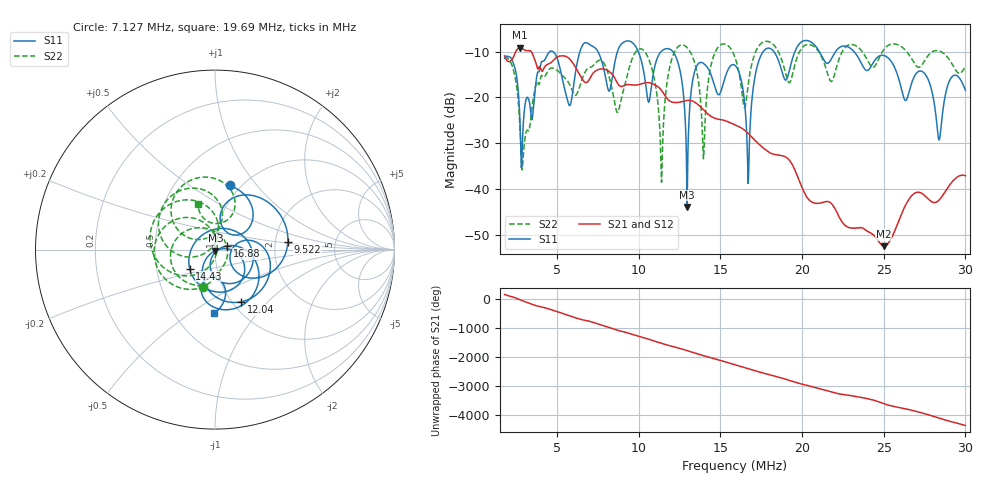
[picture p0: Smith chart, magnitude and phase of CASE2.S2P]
!Agilent Technologies,E5061B,MY49101568,A.02.00
!Date: Wed Mar 01 13:50:15 2023
!Data & Calibration Information:
!Freq	S11:SOLT2(OFF)	S21:SOLT2(OFF)	S12:SOLT2(OFF)	S22:SOLT2(OFF)
# Hz S dB R 50
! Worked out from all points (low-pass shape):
!   1155 points, 1.8 MHz to 30 MHz, reference 50 ohm
!   highest |S21| = -9.09 dB at 2.729 MHz (marker M1); lowest = -52.5 dB at 25.01 MHz (marker M2)
!   |S21| within 3 dB of the highest: 2.126 MHz to 3.683 MHz (1.558 MHz wide, 53.6 % of centre); 4.734 MHz to 5.899 MHz (1.166 MHz wide, 21.9 % of centre)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
!   lowest |S11| = -43.9 dB at 12.97 MHz (marker M3), VSWR 1.01, Z = 50.2 - j0.599 ohm
!   |S11| at or under -10 dB: start of sweep to 4.552 MHz; 12.1 MHz to 17.62 MHz (5.519 MHz wide, 37.1 % of centre); 23.19 MHz to end of sweep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
!   |S22| runs from -38.5 to -7.7 dB; largest |S21 - S12| = 0.0045
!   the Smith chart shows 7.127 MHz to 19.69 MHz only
!   S11 on the Smith chart (normalised r, x): 7.127 MHz: 0.89, +0.74; 9.522 MHz: 2.35, +0.24; 12.04 MHz: 1.10, -0.71; 14.43 MHz: 0.74, -0.16; 16.88 MHz: 1.14, +0.05; 19.69 MHz: 0.77, -0.62
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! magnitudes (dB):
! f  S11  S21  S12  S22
! 1.8 MHz  -11.4  -10.9  -10.9  -11.2
! 2.729 MHz  -24.2  -9.1  -9.1  -25.9
! 6.516 MHz  -9.0  -15.8  -15.7  -16.3
! 7.127 MHz  -8.7  -15.2  -15.0  -13.3
! 8.716 MHz  -9.9  -16.9  -16.9  -23.3
! 9.522 MHz  -7.8  -17.2  -17.2  -12.4
! 10.6 MHz  -21.0  -16.8  -16.8  -11.4
! 11.21 MHz  -10.9  -17.7  -17.7  -22.2
! 11.43 MHz  -9.8  -18.6  -18.6  -36.4
! 12.04 MHz  -9.8  -21.0  -21.1  -11.5
! 12.97 MHz  -43.9  -20.6  -20.7  -9.1
! 13.97 MHz  -12.6  -22.7  -22.7  -33.4
! 14.43 MHz  -15.1  -24.1  -24.1  -12.9
! 15.9 MHz  -13.0  -26.0  -26.1  -11.3
! 16.88 MHz  -23.0  -28.5  -28.6  -13.5
! 17.61 MHz  -10.0  -31.0  -31.1  -7.9
! 19.69 MHz  -9.0  -36.9  -36.9  -11.4
! 20.62 MHz  -8.0  -42.9  -42.9  -8.6
! 25.01 MHz  -10.8  -52.5  -52.5  -9.5
! 25.31 MHz  -11.5  -51.7  -51.7  -8.6
! 28.39 MHz  -29.3  -42.4  -42.4  -9.8
! 30 MHz  -18.4  -37.1  -37.1  -13.2
